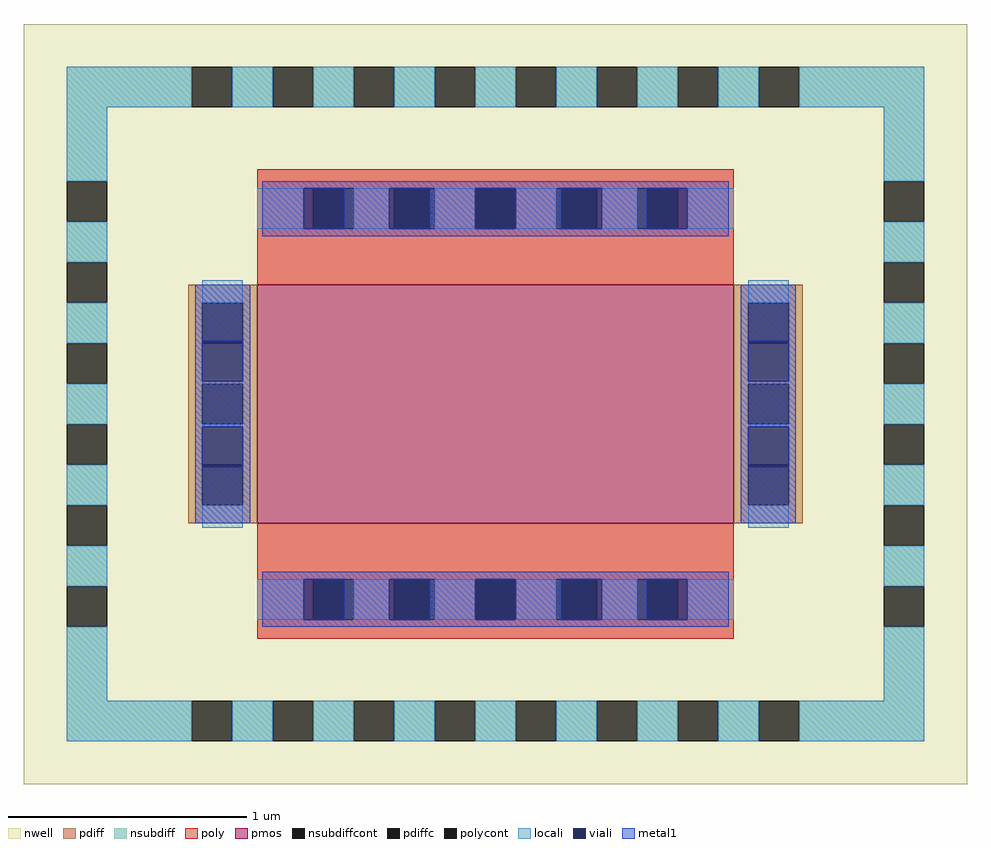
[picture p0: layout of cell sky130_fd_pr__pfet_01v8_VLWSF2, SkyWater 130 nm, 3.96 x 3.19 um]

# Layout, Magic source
magic
tech sky130A
magscale 1 2
<< nwell >>
rect -396 -319 396 319
<< pmos >>
rect -200 -100 200 100
<< pdiff >>
rect -258 85 -200 100
rect -258 51 -246 85
rect -212 51 -200 85
rect -258 17 -200 51
rect -258 -17 -246 17
rect -212 -17 -200 17
rect -258 -51 -200 -17
rect -258 -85 -246 -51
rect -212 -85 -200 -51
rect -258 -100 -200 -85
rect 200 85 258 100
rect 200 51 212 85
rect 246 51 258 85
rect 200 17 258 51
rect 200 -17 212 17
rect 246 -17 258 17
rect 200 -51 258 -17
rect 200 -85 212 -51
rect 246 -85 258 -51
rect 200 -100 258 -85
<< pdiffc >>
rect -246 51 -212 85
rect -246 -17 -212 17
rect -246 -85 -212 -51
rect 212 51 246 85
rect 212 -17 246 17
rect 212 -85 246 -51
<< nsubdiff >>
rect -360 249 -255 283
rect -221 249 -187 283
rect -153 249 -119 283
rect -85 249 -51 283
rect -17 249 17 283
rect 51 249 85 283
rect 119 249 153 283
rect 187 249 221 283
rect 255 249 360 283
rect -360 187 -326 249
rect -360 119 -326 153
rect 326 187 360 249
rect 326 119 360 153
rect -360 51 -326 85
rect -360 -17 -326 17
rect -360 -85 -326 -51
rect 326 51 360 85
rect 326 -17 360 17
rect 326 -85 360 -51
rect -360 -153 -326 -119
rect -360 -249 -326 -187
rect 326 -153 360 -119
rect 326 -249 360 -187
rect -360 -283 -255 -249
rect -221 -283 -187 -249
rect -153 -283 -119 -249
rect -85 -283 -51 -249
rect -17 -283 17 -249
rect 51 -283 85 -249
rect 119 -283 153 -249
rect 187 -283 221 -249
rect 255 -283 360 -249
<< nsubdiffcont >>
rect -255 249 -221 283
rect -187 249 -153 283
rect -119 249 -85 283
rect -51 249 -17 283
rect 17 249 51 283
rect 85 249 119 283
rect 153 249 187 283
rect 221 249 255 283
rect -360 153 -326 187
rect -360 85 -326 119
rect 326 153 360 187
rect -360 17 -326 51
rect -360 -51 -326 -17
rect -360 -119 -326 -85
rect 326 85 360 119
rect 326 17 360 51
rect 326 -51 360 -17
rect -360 -187 -326 -153
rect 326 -119 360 -85
rect 326 -187 360 -153
rect -255 -283 -221 -249
rect -187 -283 -153 -249
rect -119 -283 -85 -249
rect -51 -283 -17 -249
rect 17 -283 51 -249
rect 85 -283 119 -249
rect 153 -283 187 -249
rect 221 -283 255 -249
<< poly >>
rect -200 181 200 197
rect -200 147 -153 181
rect -119 147 -85 181
rect -51 147 -17 181
rect 17 147 51 181
rect 85 147 119 181
rect 153 147 200 181
rect -200 100 200 147
rect -200 -147 200 -100
rect -200 -181 -153 -147
rect -119 -181 -85 -147
rect -51 -181 -17 -147
rect 17 -181 51 -147
rect 85 -181 119 -147
rect 153 -181 200 -147
rect -200 -197 200 -181
<< polycont >>
rect -153 147 -119 181
rect -85 147 -51 181
rect -17 147 17 181
rect 51 147 85 181
rect 119 147 153 181
rect -153 -181 -119 -147
rect -85 -181 -51 -147
rect -17 -181 17 -147
rect 51 -181 85 -147
rect 119 -181 153 -147
<< locali >>
rect -360 249 -255 283
rect -221 249 -187 283
rect -153 249 -119 283
rect -85 249 -51 283
rect -17 249 17 283
rect 51 249 85 283
rect 119 249 153 283
rect 187 249 221 283
rect 255 249 360 283
rect -360 187 -326 249
rect 326 187 360 249
rect -360 119 -326 153
rect -200 147 -161 181
rect -119 147 -89 181
rect -51 147 -17 181
rect 17 147 51 181
rect 89 147 119 181
rect 161 147 200 181
rect 326 119 360 153
rect -360 51 -326 85
rect -360 -17 -326 17
rect -360 -85 -326 -51
rect -246 85 -212 104
rect -246 17 -212 19
rect -246 -19 -212 -17
rect -246 -104 -212 -85
rect 212 85 246 104
rect 212 17 246 19
rect 212 -19 246 -17
rect 212 -104 246 -85
rect 326 51 360 85
rect 326 -17 360 17
rect 326 -85 360 -51
rect -360 -153 -326 -119
rect -200 -181 -161 -147
rect -119 -181 -89 -147
rect -51 -181 -17 -147
rect 17 -181 51 -147
rect 89 -181 119 -147
rect 161 -181 200 -147
rect 326 -153 360 -119
rect -360 -249 -326 -187
rect 326 -249 360 -187
rect -360 -283 -255 -249
rect -221 -283 -187 -249
rect -153 -283 -119 -249
rect -85 -283 -51 -249
rect -17 -283 17 -249
rect 51 -283 85 -249
rect 119 -283 153 -249
rect 187 -283 221 -249
rect 255 -283 360 -249
<< viali >>
rect -161 147 -153 181
rect -153 147 -127 181
rect -89 147 -85 181
rect -85 147 -55 181
rect -17 147 17 181
rect 55 147 85 181
rect 85 147 89 181
rect 127 147 153 181
rect 153 147 161 181
rect -246 51 -212 53
rect -246 19 -212 51
rect -246 -51 -212 -19
rect -246 -53 -212 -51
rect 212 51 246 53
rect 212 19 246 51
rect 212 -51 246 -19
rect 212 -53 246 -51
rect -161 -181 -153 -147
rect -153 -181 -127 -147
rect -89 -181 -85 -147
rect -85 -181 -55 -147
rect -17 -181 17 -147
rect 55 -181 85 -147
rect 85 -181 89 -147
rect 127 -181 153 -147
rect 153 -181 161 -147
<< metal1 >>
rect -196 181 196 187
rect -196 147 -161 181
rect -127 147 -89 181
rect -55 147 -17 181
rect 17 147 55 181
rect 89 147 127 181
rect 161 147 196 181
rect -196 141 196 147
rect -252 53 -206 100
rect -252 19 -246 53
rect -212 19 -206 53
rect -252 -19 -206 19
rect -252 -53 -246 -19
rect -212 -53 -206 -19
rect -252 -100 -206 -53
rect 206 53 252 100
rect 206 19 212 53
rect 246 19 252 53
rect 206 -19 252 19
rect 206 -53 212 -19
rect 246 -53 252 -19
rect 206 -100 252 -53
rect -196 -147 196 -141
rect -196 -181 -161 -147
rect -127 -181 -89 -147
rect -55 -181 -17 -147
rect 17 -181 55 -147
rect 89 -181 127 -147
rect 161 -181 196 -147
rect -196 -187 196 -181
<< properties >>
string FIXED_BBOX -343 -266 343 266
<< end >>
